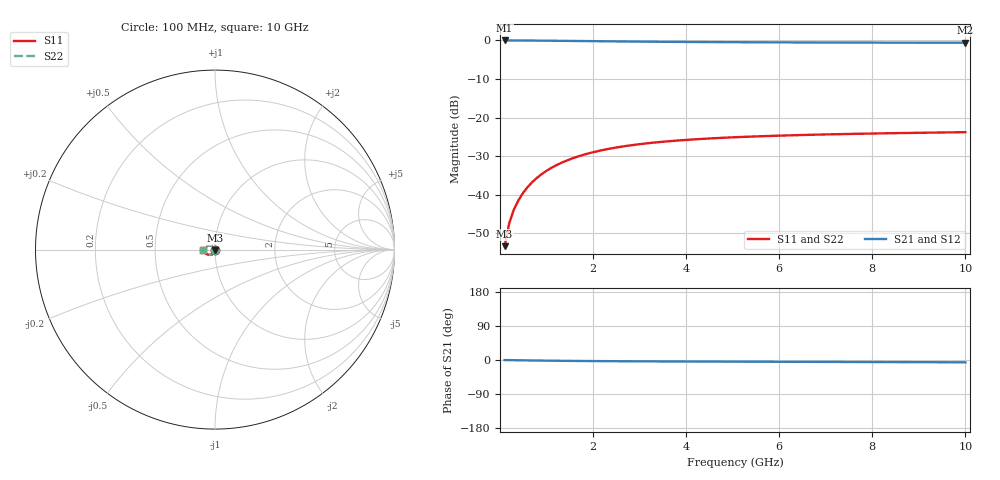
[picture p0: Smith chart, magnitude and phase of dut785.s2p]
! Touchstone file exported from HFSS 2024.1.0
!  File:  C:/UserFiles/LocalFiles/RDL_TSV_Batchsim/temp_TSV1_785_1779874771.aedt
!  Generated:  05:49:02 PM May 27, 2026
!  Design:  TSV1
!  Project:  temp_TSV1_785_1779874771
!  Setup:  Setup1
!  Solution:  Sweep
! Variables:
!  dtsv = 12.53um
!  hbump = 3um
!  htsv = 96.69um
!  lrdl = 252.1521522um
!  p = 40
!  p1 = 56.55um
!  t = 500um
!  trdl = 3um
!  wrdl = 24.89489489um
# GHz S MA R 50.000000
! Terminal data exported
! Port[1] = TSV22_T1
! Port[2] = TSV22_T2
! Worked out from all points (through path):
!   100 points, 100 MHz to 10 GHz, reference 50 ohm
!   highest |S21| = 0.00 dB at 100 MHz (marker M1); lowest = -0.6 dB at 10 GHz (marker M2)
!   lowest |S11| = -53.4 dB at 100 MHz (marker M3), VSWR 1.00, Z = 50 - j0.214 ohm
!   |S11| at or under -10 dB: start of sweep to end of sweep
!   |S22| runs from -53.4 to -23.8 dB; largest |S21 - S12| = 9.6e-15
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0.1  0.00214 -89.4  0.9998 -0.2  0.9998 -0.2  0.00214 -89.4
! Gamma 0 0 0 0
! Port Impedance 50 0 50 0
0.2  0.004273 -92.7  0.9996 -0.4  0.9996 -0.4  0.004273 -92.7
0.3  0.006398 -95.3  0.9992 -0.5  0.9992 -0.5  0.006398 -95.3
0.4  0.008504 -97.6  0.9986 -0.7  0.9986 -0.7  0.008504 -97.6
0.5  0.01058 -99.8  0.9979 -0.9  0.9979 -0.9  0.01058 -99.8
0.6  0.01263 -102.0  0.9971 -1.1  0.9971 -1.1  0.01263 -102.0
0.7  0.01463 -104.1  0.9962 -1.2  0.9962 -1.2  0.01463 -104.1
0.8  0.01658 -106.1  0.9951 -1.4  0.9951 -1.4  0.01658 -106.1
0.9  0.01848 -108.1  0.994 -1.5  0.994 -1.5  0.01848 -108.1
1.1  0.02212 -112.0  0.9915 -1.8  0.9915 -1.8  0.02212 -112.0
1.4  0.02711 -117.5  0.9874 -2.2  0.9874 -2.2  0.02711 -117.5
1.6  0.03012 -120.9  0.9846 -2.5  0.9846 -2.5  0.03012 -120.9
1.8  0.03289 -124.2  0.9816 -2.7  0.9816 -2.7  0.03289 -124.2
2.1  0.0366 -128.6  0.9773 -2.9  0.9773 -2.9  0.0366 -128.6
2.5  0.04081 -134.0  0.9719 -3.2  0.9719 -3.2  0.04081 -134.0
2.9  0.0443 -138.8  0.967 -3.5  0.967 -3.5  0.0443 -138.8
3.4  0.04785 -144.0  0.9617 -3.7  0.9617 -3.7  0.04785 -144.0
4.2  0.05215 -150.9  0.9547 -4.0  0.9547 -4.0  0.05215 -150.9
5.1  0.05561 -157.4  0.9488 -4.4  0.9488 -4.4  0.05561 -157.4
6.7  0.05971 -166.3  0.9417 -4.9  0.9417 -4.9  0.05971 -166.3
8.4  0.06255 -173.7  0.9369 -5.5  0.9369 -5.5  0.06255 -173.7
10  0.06449 -179.5  0.934 -6.1  0.934 -6.1  0.06449 -179.5
